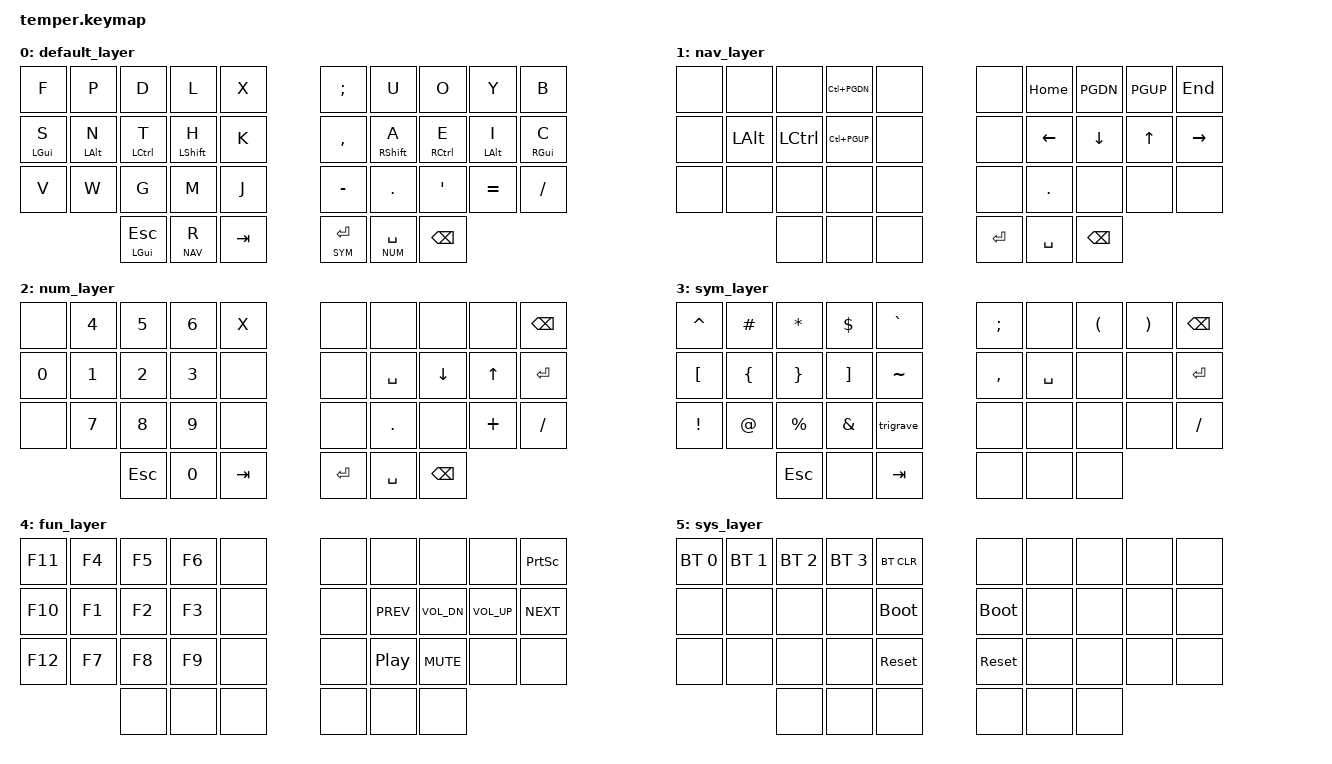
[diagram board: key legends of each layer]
#include "keypos_36.h"
#include <behaviors.dtsi>
#include <dt-bindings/zmk/bt.h>
#include <dt-bindings/zmk/keys.h>

#define DEF 0
#define NAV 1
#define NUM 2
#define SYM 3
#define FUN 4
#define SYS 5

#define XXX &none
#define ___ &trans

#define QUICK_TAP_MS 150

#define COMBO_TERM 35
#define COMBO_IDLE 50

#define COMBO_TERM_FAST 18
#define COMBO_IDLE_FAST 150

&lt {
    flavor = "tap-preferred";
    tapping-term-ms = <200>;
    quick-tap-ms = <QUICK_TAP_MS>;
};

&mt {
    flavor = "tap-preferred";
    tapping-term-ms = <200>;
    quick-tap-ms = <QUICK_TAP_MS>;
};

/* Homerow mods */
#define KEYS_L LT0 LT1 LT2 LT3 LT4 LM0 LM1 LM2 LM3 LM4 LB0 LB1 LB2 LB3 LB4
#define KEYS_R RT0 RT1 RT2 RT3 RT4 RM0 RM1 RM2 RM3 RM4 RB0 RB1 RB2 RB3 RB4
#define THUMBS LH2 LH1 LH0 RH0 RH1 RH2

/ {
    behaviors {
        hml: home_row_mod_left {
            compatible = "zmk,behavior-hold-tap";
            #binding-cells = <2>;
            flavor = "balanced";
            require-prior-idle-ms = <150>;
            tapping-term-ms = <280>;
            quick-tap-ms = <QUICK_TAP_MS>;
            bindings = <&kp>, <&kp>;
            hold-trigger-key-positions = < KEYS_R THUMBS >; // List of keys on the right side of the keyboard
            hold-trigger-on-release;
        };

        hmr: home_row_mod_right {
            compatible = "zmk,behavior-hold-tap";
            #binding-cells = <2>;
            flavor = "balanced";
            require-prior-idle-ms = <150>;
            tapping-term-ms = <280>;
            quick-tap-ms = <QUICK_TAP_MS>;
            bindings = <&kp>, <&kp>;
            hold-trigger-key-positions = < KEYS_L THUMBS >; // List of keys on the left side of the keyboard
            hold-trigger-on-release;
        };
    };

    macros {
        trigrave:
        trigrave {
            compatible = "zmk,behavior-macro";
            #binding-cells = <0>;
            // wait-ms = <1>;
            bindings = <&macro_tap &kp GRAVE &kp GRAVE &kp GRAVE>;
        };
        lrpar:
        lrpar {
            compatible = "zmk,behavior-macro";
            #binding-cells = <0>;
            bindings = <&macro_tap &kp LPAR &kp RPAR &kp LEFT>;
        };
    };

    combos {
        compatible = "zmk,combos";
        combo_sys {
            timeout-ms = <COMBO_TERM>;
            key-positions = <LH2 RH2>;
            bindings = <&mo SYS>;
        };
        combo_fun {
            timeout-ms = <COMBO_TERM>;
            key-positions = <LH1 RH1>;
            bindings = <&mo FUN>;
        };
        combo_capsword {
            timeout-ms = <COMBO_TERM>;
            key-positions = <LH0 RH0>;
            bindings = <&caps_word>;
        };
        combo_q {
            timeout-ms = <COMBO_TERM>;
            key-positions = <LT3 LT2>;
            bindings = <&kp Q>;
        };
        combo_z {
            timeout-ms = <COMBO_TERM>;
            key-positions = <LT2 LT1>;
            bindings = <&kp Z>;
        };
        combo_caret {
            timeout-ms = <COMBO_TERM>;
            key-positions = <RT0 RT1>;
            bindings = <&kp CARET>;
        };
        combo_star {
            timeout-ms = <COMBO_TERM>;
            key-positions = <RT1 RT2>;
            bindings = <&kp STAR>;
        };
        combo_amps {
            timeout-ms = <COMBO_TERM>;
            key-positions = <RB2 RB3>;
            bindings = <&kp AMPS>;
        };
        combo_prcnt {
            timeout-ms = <COMBO_TERM>;
            key-positions = <RB1 RB2>;
            bindings = <&kp PRCNT>;
        };
        combo_grave {
            timeout-ms = <COMBO_TERM>;
            key-positions = <RB0 RB1>;
            bindings = <&kp GRAVE>;
        };
        combo_trigrave {
            timeout-ms = <COMBO_TERM>;
            key-positions = <RB0 RB1>;
            bindings = <&trigrave>;
        };
        combo_tilde {
            timeout-ms = <COMBO_TERM>;
            key-positions = <LB0 LB1>;
            bindings = <&kp TILDE>;
        };
        combo_dollar {
            timeout-ms = <COMBO_TERM>;
            key-positions = <RT2 RT3>;
            bindings = <&kp DOLLAR>;
        };
        combo_at {
            timeout-ms = <COMBO_TERM>;
            key-positions = <RB1 RB2>;
            bindings = <&kp AT>;
        };
        combo_hash {
            timeout-ms = <COMBO_TERM>;
            key-positions = <RT1 RM1>;
            bindings = <&kp HASH>;
        };
        combo_excl {
            timeout-ms = <COMBO_TERM>;
            key-positions = <LT0 LM0>;
            bindings = <&kp EXCL>;
        };
        combo_lpar {
            timeout-ms = <COMBO_TERM>;
            key-positions = <RM1 RM3>;
            bindings = <&kp LPAR>;
        };
        combo_lbrc {
            timeout-ms = <COMBO_TERM>;
            key-positions = <LT2 LM2>;
            bindings = <&kp LBRC>;
        };
        combo_lbkt {
            timeout-ms = <COMBO_TERM>;
            key-positions = <LM2 LB2>;
            bindings = <&kp LBKT>;
        };
        combo_rpar {
            timeout-ms = <COMBO_TERM>;
            key-positions = <RT1 RM3>;
            bindings = <&kp RPAR>;
        };
        combo_rbrc {
            timeout-ms = <COMBO_TERM>;
            key-positions = <RT2 RM2>;
            bindings = <&kp RBRC>;
        };
        combo_rbkt {
            timeout-ms = <COMBO_TERM>;
            key-positions = <RM2 RB2>;
            bindings = <&kp RBKT>;
        };
        combo_pipe {
            timeout-ms = <COMBO_TERM>;
            key-positions = <LT1 LM1>;
            bindings = <&kp PIPE>;
        };
        combo_bslh {
            timeout-ms = <COMBO_TERM>;
            key-positions = <RT0 RM0>;
            bindings = <&kp BSLH>;
        };
        combo_copy {
            timeout-ms = <COMBO_TERM>;
            key-positions = <LB3 LB2>;
            bindings = <&kp LC(INS)>;
        };
        combo_cut {
            timeout-ms = <COMBO_TERM>;
            key-positions = <LB3 LB1>;
            bindings = <&kp LC(X)>;
        };
        combo_paste {
            timeout-ms = <COMBO_TERM>;
            key-positions = <LB2 LB1>;
            bindings = <&kp LS(INS)>;
        };
        combo_del {
            timeout-ms = <COMBO_TERM>;
            key-positions = <LT4 LT3>;
            bindings = <&kp DEL>;
        };
        combo_selall {
            timeout-ms = <COMBO_TERM>;
            key-positions = <LB2 LB1>;
            bindings = <&kp LC(A)>;
        };
        combo_undo {
            timeout-ms = <COMBO_TERM>;
            key-positions = <LM1 LM0>;
            bindings = <&kp LC(Z)>;
        };
        combo_redo {
            timeout-ms = <COMBO_TERM>;
            key-positions = <LT1 LT0>;
            bindings = <&kp LC(Y)>;
        };
    };

    keymap {
        compatible = "zmk,keymap";
        default_layer {
            bindings = <
        // ╭─────────────┬─────────────┬─────────────┬─────────────┬─────────────╮   ╭─────────────┬─────────────┬─────────────┬─────────────┬─────────────╮
                &kp F         &kp P         &kp D         &kp L         &kp X           &kp SEMI        &kp U         &kp O         &kp Y         &kp B
        // ├─────────────┼─────────────┼─────────────┼─────────────┼─────────────┤   ├─────────────┼─────────────┼─────────────┼─────────────┼─────────────┤
             &hml LGUI S   &hml LALT N   &hml LCTRL T  &hml LSHIFT H    &kp K           &kp COMMA  &hmr RSHIFT A   &hmr RCTRL E  &hmr LALT I   &hmr RGUI C
        // ├─────────────┼─────────────┼─────────────┼─────────────┼─────────────┤   ├─────────────┼─────────────┼─────────────┼─────────────┼─────────────┤
                &kp V         &kp W         &kp G         &kp M         &kp J           &kp MINUS      &kp DOT      &kp APOS     &kp EQUAL     &kp SLASH
        // ╰─────────────┴─────────────┼─────────────┼─────────────┼─────────────┤   ├─────────────┼─────────────┼─────────────┼─────────────┴─────────────╯
                                        &mt LGUI ESC   &lt NAV R     &kp  TAB          &lt SYM RET &lt NUM SPACE   &kp BSPC
        //                             ╰─────────────┴─────────────┴─────────────╯   ╰─────────────┴─────────────┴─────────────╯
            >;
        };

        nav_layer {
            bindings = <
        // ╭─────────────┬─────────────┬─────────────┬─────────────┬─────────────╮   ╭─────────────┬─────────────┬─────────────┬─────────────┬─────────────╮
                 XXX           XXX           XXX       &kp LC(PGDN)      XXX               XXX        &kp HOME     &kp PGDN      &kp PGUP      &kp END
        // ├─────────────┼─────────────┼─────────────┼─────────────┼─────────────┤   ├─────────────┼─────────────┼─────────────┼─────────────┼─────────────┤
                 XXX       &kp LALT      &kp LCTRL     &kp LC(PGUP)      XXX               XXX        &kp LEFT     &kp DOWN      &kp UP        &kp RIGHT
        // ├─────────────┼─────────────┼─────────────┼─────────────┼─────────────┤   ├─────────────┼─────────────┼─────────────┼─────────────┼─────────────┤
                 XXX           XXX           XXX           XXX           XXX               XXX        &kp DOT          XXX           XXX           XXX
        // ╰─────────────┴─────────────┼─────────────┼─────────────┼─────────────┤   ├─────────────┼─────────────┼─────────────┼─────────────┴─────────────╯
                                             XXX           XXX           XXX            &kp RET     &kp SPACE        &kp BSPC
        //                             ╰─────────────┴─────────────┴─────────────╯   ╰─────────────┴─────────────┴─────────────╯
            >;
        };

        num_layer {
            bindings = <
        // ╭─────────────┬─────────────┬─────────────┬─────────────┬─────────────╮   ╭─────────────┬─────────────┬─────────────┬─────────────┬─────────────╮
                 XXX         &kp N4        &kp N5        &kp N6         &kp X              XXX           XXX          XXX            XXX        &kp BSPC
        // ├─────────────┼─────────────┼─────────────┼─────────────┼─────────────┤   ├─────────────┼─────────────┼─────────────┼─────────────┼─────────────┤
               &kp N0        &kp N1        &kp N2        &kp N3          XXX               XXX       &kp SPACE     &kp DOWN       &kp UP        &kp RET
        // ├─────────────┼─────────────┼─────────────┼─────────────┼─────────────┤   ├─────────────┼─────────────┼─────────────┼─────────────┼─────────────┤
                 XXX         &kp N7        &kp N8        &kp N9          XXX               XXX        &kp DOT          XXX        &kp PLUS      &kp SLASH
        // ╰─────────────┴─────────────┼─────────────┼─────────────┼─────────────┤   ├─────────────┼─────────────┼─────────────┼─────────────┴─────────────╯
                                           &kp ESC       &kp N0        &kp TAB           &kp RET      &kp SPACE     &kp BSPC
        //                             ╰─────────────┴─────────────┴─────────────╯   ╰─────────────┴─────────────┴─────────────╯
            >;
        };

        sym_layer {
            bindings = <
        // ╭─────────────┬─────────────┬─────────────┬─────────────┬─────────────╮   ╭─────────────┬─────────────┬─────────────┬─────────────┬─────────────╮
              &kp CARET     &kp HASH      &kp STAR      &kp DOLLAR     &kp GRAVE         &kp SEMI         XXX       &kp LPAR      &kp RPAR    &kp BSPC
        // ├─────────────┼─────────────┼─────────────┼─────────────┼─────────────┤   ├─────────────┼─────────────┼─────────────┼─────────────┼─────────────┤
              &kp LBKT     &kp LBRC       &kp RBRC       &kp RBKT     &kp TILDE         &kp COMMA    &kp SPACE         XXX           XXX        &kp RET
        // ├─────────────┼─────────────┼─────────────┼─────────────┼─────────────┤   ├─────────────┼─────────────┼─────────────┼─────────────┼─────────────┤
              &kp EXCL      &kp AT       &kp PRCNT     &kp AMPS       &trigrave            XXX           XXX           XXX           XXX        &kp SLASH
        // ╰─────────────┴─────────────┼─────────────┼─────────────┼─────────────┤   ├─────────────┼─────────────┼─────────────┼─────────────┴─────────────╯
                                          &kp ESC        XXX          &kp TAB              XXX           XXX           XXX
        //                             ╰─────────────┴─────────────┴─────────────╯   ╰─────────────┴─────────────┴─────────────╯
            >;
        };

        fun_layer {
            bindings = <
        // ╭─────────────┬─────────────┬─────────────┬─────────────┬─────────────╮   ╭─────────────┬─────────────┬─────────────┬─────────────┬─────────────╮
               &kp F11       &kp F4        &kp F5        &kp F6          XXX               XXX           XXX           XXX           XXX       &kp PSCRN
        // ├─────────────┼─────────────┼─────────────┼─────────────┼─────────────┤   ├─────────────┼─────────────┼─────────────┼─────────────┼─────────────┤
               &kp F10       &kp F1        &kp F2        &kp F3          XXX               XXX      &kp C_PREV  &kp C_VOL_DN   &kp C_VOL_UP    &kp C_NEXT
        // ├─────────────┼─────────────┼─────────────┼─────────────┼─────────────┤   ├─────────────┼─────────────┼─────────────┼─────────────┼─────────────┤
               &kp F12       &kp F7        &kp F8        &kp F9          XXX               XXX       &kp  C_PP     &kp C_MUTE         XXX         XXX
        // ╰─────────────┴─────────────┼─────────────┼─────────────┼─────────────┤   ├─────────────┼─────────────┼─────────────┼─────────────┴─────────────╯
                                             XXX           XXX           XXX               XXX           XXX           XXX
        //                             ╰─────────────┴─────────────┴─────────────╯   ╰─────────────┴─────────────┴─────────────╯
            >;
        };

        sys_layer {
            bindings = <
        // ╭─────────────┬─────────────┬─────────────┬─────────────┬─────────────╮   ╭─────────────┬─────────────┬─────────────┬─────────────┬─────────────╮
            &bt BT_SEL 0  &bt BT_SEL 1  &bt BT_SEL 2  &bt BT_SEL 3   &bt BT_CLR            XXX           XXX           XXX           XXX           XXX
        // ├─────────────┼─────────────┼─────────────┼─────────────┼─────────────┤   ├─────────────┼─────────────┼─────────────┼─────────────┼─────────────┤
                 XXX          XXX           XXX            XXX       &bootloader       &bootloader       XXX           XXX           XXX           XXX
        // ├─────────────┼─────────────┼─────────────┼─────────────┼─────────────┤   ├─────────────┼─────────────┼─────────────┼─────────────┼─────────────┤
                 XXX          XXX           XXX            XXX       &sys_reset        &sys_reset        XXX           XXX           XXX           XXX
        // ╰─────────────┴─────────────┼─────────────┼─────────────┼─────────────┤   ├─────────────┼─────────────┼─────────────┼─────────────┴─────────────╯
                                            XXX            XXX           XXX               XXX           XXX           XXX
        //                             ╰─────────────┴─────────────┴─────────────╯   ╰─────────────┴─────────────┴─────────────╯
            >;
        };
    };
};
